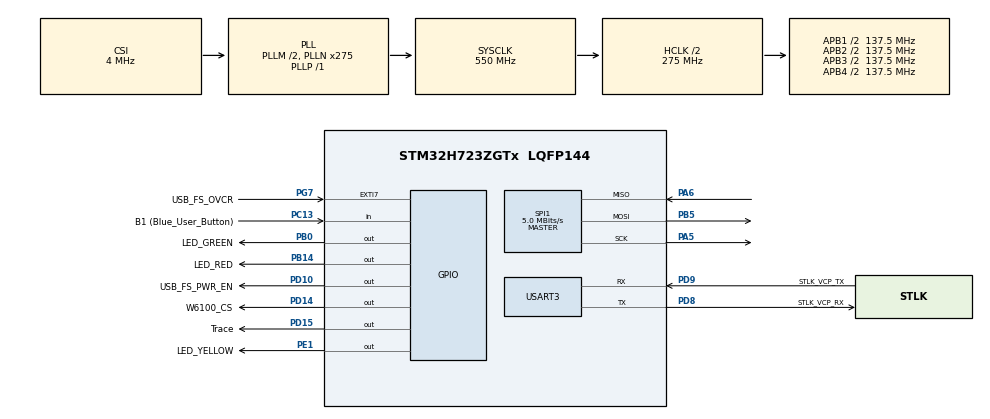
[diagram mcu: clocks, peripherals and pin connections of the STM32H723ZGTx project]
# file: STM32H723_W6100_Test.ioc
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Dma.Request0=SPI1_RX
Dma.Request1=SPI1_TX
Dma.SPI1_RX.0.Direction=DMA_PERIPH_TO_MEMORY
Dma.SPI1_RX.0.EventEnable=DISABLE
Dma.SPI1_RX.0.FIFOMode=DMA_FIFOMODE_DISABLE
Dma.SPI1_RX.0.Instance=DMA1_Stream0
Dma.SPI1_RX.0.MemDataAlignment=DMA_MDATAALIGN_BYTE
Dma.SPI1_RX.0.MemInc=DMA_MINC_ENABLE
Dma.SPI1_RX.0.Mode=DMA_NORMAL
Dma.SPI1_RX.0.PeriphDataAlignment=DMA_PDATAALIGN_BYTE
Dma.SPI1_RX.0.PeriphInc=DMA_PINC_DISABLE
Dma.SPI1_RX.0.Polarity=HAL_DMAMUX_REQ_GEN_RISING
Dma.SPI1_RX.0.Priority=DMA_PRIORITY_LOW
Dma.SPI1_RX.0.RequestNumber=1
Dma.SPI1_RX.0.SignalID=NONE
Dma.SPI1_RX.0.SyncEnable=DISABLE
Dma.SPI1_RX.0.SyncPolarity=HAL_DMAMUX_SYNC_NO_EVENT
Dma.SPI1_RX.0.SyncRequestNumber=1
Dma.SPI1_RX.0.SyncSignalID=NONE
Dma.SPI1_TX.1.Direction=DMA_MEMORY_TO_PERIPH
Dma.SPI1_TX.1.EventEnable=DISABLE
Dma.SPI1_TX.1.FIFOMode=DMA_FIFOMODE_DISABLE
Dma.SPI1_TX.1.Instance=DMA1_Stream1
Dma.SPI1_TX.1.MemDataAlignment=DMA_MDATAALIGN_BYTE
Dma.SPI1_TX.1.MemInc=DMA_MINC_ENABLE
Dma.SPI1_TX.1.Mode=DMA_NORMAL
Dma.SPI1_TX.1.PeriphDataAlignment=DMA_PDATAALIGN_BYTE
Dma.SPI1_TX.1.PeriphInc=DMA_PINC_DISABLE
Dma.SPI1_TX.1.Polarity=HAL_DMAMUX_REQ_GEN_RISING
Dma.SPI1_TX.1.Priority=DMA_PRIORITY_LOW
Dma.SPI1_TX.1.RequestNumber=1
Dma.SPI1_TX.1.SignalID=NONE
Dma.SPI1_TX.1.SyncEnable=DISABLE
Dma.SPI1_TX.1.SyncPolarity=HAL_DMAMUX_SYNC_NO_EVENT
Dma.SPI1_TX.1.SyncRequestNumber=1
Dma.SPI1_TX.1.SyncSignalID=NONE
FREERTOS.Tasks01=defaultTask,24,512,StartDefaultTask,Default,NULL,Dynamic,NULL,NULL
FREERTOS.configCHECK_FOR_STACK_OVERFLOW=1
FREERTOS.configTIMER_TASK_STACK_DEPTH=1024
FREERTOS.configTOTAL_HEAP_SIZE=30720
FREERTOS.configUSE_NEWLIB_REENTRANT=1
Mcu.Family=STM32H7
Mcu.Name=STM32H723ZGTx
Mcu.Package=LQFP144
NVIC.DMA1_Stream0_IRQn=true\:5\:0\:false\:false\:true\:true\:false\:true\:true
NVIC.DMA1_Stream1_IRQn=true\:5\:0\:false\:false\:true\:true\:false\:true\:true
NVIC.PriorityGroup=NVIC_PRIORITYGROUP_4
NVIC.SPI1_IRQn=true\:5\:0\:false\:false\:true\:true\:true\:true\:true
NVIC.TIM6_DAC_IRQn=true\:15\:0\:false\:false\:true\:false\:false\:true\:true
NVIC.TimeBase=TIM6_DAC_IRQn
NVIC.TimeBaseIP=TIM6
NVIC.USART3_IRQn=true\:5\:0\:false\:false\:true\:true\:true\:true\:true
PA1.GPIO_Label=RMII_REF_CLK
PA1.Signal=ETH_REF_CLK
PA10.GPIO_Label=USB_FS_ID
PA10.Signal=USB_OTG_HS_ID
PA13(JTMS/SWDIO).GPIO_Label=SWDIO
PA13(JTMS/SWDIO).Mode=Serial_Wire
PA13(JTMS/SWDIO).Signal=DEBUG_JTMS-SWDIO
PA14(JTCK/SWCLK).GPIO_Label=SWCLK
PA14(JTCK/SWCLK).Mode=Serial_Wire
PA14(JTCK/SWCLK).Signal=DEBUG_JTCK-SWCLK
PA2.GPIO_Label=RMII_MDIO
PA2.Signal=ETH_MDIO
PA5.GPIO_Speed=GPIO_SPEED_FREQ_VERY_HIGH
PA5.Mode=Full_Duplex_Master
PA5.Signal=SPI1_SCK
PA6.GPIO_Speed=GPIO_SPEED_FREQ_VERY_HIGH
PA6.Mode=Full_Duplex_Master
PA6.Signal=SPI1_MISO
PA7.GPIO_Label=RMII_CRS_DV
PA7.Signal=ETH_CRS_DV
PA9.GPIO_Label=USB_FS_VBUS
PA9.Signal=USB_OTG_HS_VBUS
PB0.GPIO_Label=LED_GREEN
PB0.Signal=GPIO_Output
PB13.GPIO_Label=RMII_TXD1
PB13.Signal=ETH_TXD1
PB14.GPIO_Label=LED_RED
PB14.Signal=GPIO_Output
PB5.GPIO_Speed=GPIO_SPEED_FREQ_VERY_HIGH
PB5.Mode=Full_Duplex_Master
PB5.Signal=SPI1_MOSI
PC1.GPIO_Label=RMII_MDC
PC1.Signal=ETH_MDC
PC13.GPIO_Label=B1 (Blue_User_Button)
PC13.Signal=GPIO_Input
PC14-OSC32_IN.Mode=LSE-External-Oscillator
PC14-OSC32_IN.Signal=RCC_OSC32_IN
PC15-OSC32_OUT.Mode=LSE-External-Oscillator
PC15-OSC32_OUT.Signal=RCC_OSC32_OUT
PC4.GPIO_Label=RMII_RXD0
PC4.Signal=ETH_RXD0
PC5.GPIO_Label=RMII_RXD1
PC5.Signal=ETH_RXD1
PD10.GPIO_Label=USB_FS_PWR_EN
PD10.Signal=GPIO_Output
PD14.GPIO_Label=W6100_CS
PD14.GPIO_Speed=GPIO_SPEED_FREQ_VERY_HIGH
PD14.Signal=GPIO_Output
PD15.GPIO_Label=Trace
PD15.GPIO_Speed=GPIO_SPEED_FREQ_VERY_HIGH
PD15.Signal=GPIO_Output
PD8.GPIO_Label=STLK_VCP_RX
PD8.Mode=Asynchronous
PD8.Signal=USART3_TX
PD9.GPIO_Label=STLK_VCP_TX
PD9.Mode=Asynchronous
PD9.Signal=USART3_RX
PE1.GPIO_Label=LED_YELLOW
PE1.Signal=GPIO_Output
PG11.GPIO_Label=RMII_TX_EN
PG11.Signal=ETH_TX_EN
PG13.GPIO_Label=RMII_TXD0
PG13.Signal=ETH_TXD0
PG7.GPIO_Label=USB_FS_OVCR
PG7.Signal=GPXTI7
ProjectManager.HeapSize=0x200
ProjectManager.StackSize=0x400
ProjectManager.TargetToolchain=STM32CubeIDE
RCC.ADCFreq_Value=160000000
RCC.APB1Freq_Value=137500000
RCC.APB2Freq_Value=137500000
RCC.APB3Freq_Value=137500000
RCC.APB4Freq_Value=137500000
RCC.CortexFreq_Value=550000000
RCC.D1PPRE=RCC_APB3_DIV2
RCC.D2PPRE1=RCC_APB1_DIV2
RCC.D2PPRE2=RCC_APB2_DIV2
RCC.D3PPRE=RCC_APB4_DIV2
RCC.DIVM1=2
RCC.DIVM2=2
RCC.DIVN1=275
RCC.DIVN2=160
RCC.DIVP1=1
RCC.DIVQ1=4
RCC.HCLKFreq_Value=275000000
RCC.HPRE=RCC_HCLK_DIV2
RCC.HSE_VALUE=8000000
RCC.PLLFRACN=0
RCC.PLLSourceVirtual=RCC_PLLSOURCE_CSI
RCC.SPI123CLockSelection=RCC_SPI123CLKSOURCE_PLL2
RCC.SYSCLKFreq_VALUE=550000000
RCC.SYSCLKSource=RCC_SYSCLKSOURCE_PLLCLK
RCC.USBCLockSelection=RCC_USBCLKSOURCE_HSI48
RCC.USBFreq_Value=48000000
SPI1.BaudRatePrescaler=SPI_BAUDRATEPRESCALER_32
SPI1.CLKPhase=SPI_PHASE_1EDGE
SPI1.CalculateBaudRate=5.0 MBits/s
SPI1.DataSize=SPI_DATASIZE_8BIT
SPI1.Direction=SPI_DIRECTION_2LINES
SPI1.Mode=SPI_MODE_MASTER
SPI1.VirtualType=VM_MASTER
USART3.VirtualMode-Asynchronous=VM_ASYNC
VP_FREERTOS_VS_CMSIS_V2.Mode=CMSIS_V2
VP_SYS_VS_tim6.Mode=TIM6
board=NUCLEO-H723ZG

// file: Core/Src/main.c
/* USER CODE BEGIN Header */
/**
  ******************************************************************************
  * @file           : main.c
  * @brief          : Main program body
  ******************************************************************************
  * @attention
  *
  * Copyright (c) 2023 STMicroelectronics.
  * All rights reserved.
  *
  * This software is licensed under terms that can be found in the LICENSE file
  * in the root directory of this software component.
  * If no LICENSE file comes with this software, it is provided AS-IS.
  *
  ******************************************************************************
  */
/* USER CODE END Header */
#include "main.h"
#include "cmsis_os.h"

/* USER CODE BEGIN Includes */
#include "wizchip_conf.h"
#include "W6100.h"
#include <stdio.h>
#include <stdlib.h>
#include <string.h>
#include "Application.h"
/* USER CODE END Includes */

/* USER CODE BEGIN PTD */
#define True_STD
#define SPI_DMA
#define Send_data_size 	 16000//7300//16000//10000
/* USER CODE END PTD */

SPI_HandleTypeDef hspi1;
DMA_HandleTypeDef hdma_spi1_rx;
DMA_HandleTypeDef hdma_spi1_tx;

UART_HandleTypeDef huart3;

/* Definitions for defaultTask */
osThreadId_t defaultTaskHandle;
const osThreadAttr_t defaultTask_attributes = {
  .name = "defaultTask",
  .stack_size = 512 * 4,
  .priority = (osPriority_t) osPriorityNormal,
};
/* USER CODE BEGIN PV */
osThreadId_t W6100_TaskHandle;
const osThreadAttr_t Wiz_attributes = {
  .name = "W6100_Task",
  .stack_size = 1024,
  .priority = (osPriority_t) osPriorityBelowNormal,
};
wiz_NetInfo gWIZNETINFO = { .mac = {0x00,0x08,0xdc,0xff,0xff,0xff},
							.ip = {192,168,10,111},
							.sn = {255, 255, 255, 0},
							.gw = {192, 168, 10, 1},
							.dns = {168, 126, 63, 1},
							.lla = {0xfe,0x80, 0x00,0x00,
								 0x00,0x00, 0x00,0x00,
								 0x02,0x08, 0xdc,0xff,
								 0xfe,0xff, 0xff,0xff},
				            .gua={0x20,0x01,0x02,0xb8,
								 0x00,0x10,0x00,0x01,
								 0x02,0x08,0xdc,0xff,
								 0xfe,0xff,0xff,0xff},
				            .sn6={0xff,0xff,0xff,0xff,
								 0xff,0xff,0xff,0xff,
								 0x00,0x00,0x00, 0x00,
								 0x00,0x00,0x00,0x00},
				            .gw6={0xfe, 0x80, 0x00,0x00,
								  0x00,0x00,0x00,0x00,
								  0x02,0x00, 0x87,0xff,
								  0xfe,0x08, 0x4c,0x81}
							};

uint8_t WIZ_Dest_IP[4] = {192, 168, 15, 7};                  //DST_IP Address
uint16_t WIZ_Dest_PORT = 5002;

uint8_t DestIP6_L[16] = {0xfe,0x80, 0x00,0x00,
						  0x00,0x00, 0x00,0x00,
                          0x31,0x71,0x98,0x05,
                          0x70,0x24,0x4b,0xb1
						};

uint8_t DestIP6_G[16] = {0x20,0x01,0x02,0xb8,
                          0x00,0x10,0x00,0x01,
                          0x31,0x71,0x98,0x05,
                          0x70,0x24,0x4b,0xb1
                         };

uint8_t Router_IP[16]= {0xff,0x02,0x00,0x00,
                          0x00,0x00,0x00,0x00,
                          0x00,0x00,0x00,0x00,
                          0x00,0x00,0x00,0x02
                         };
uint8_t data_buf[16384];
uint8_t SPI_DMA_flag = 0;
void W6100Initialze(void);
void print_network_information(void);
/* USER CODE END PV */

void SystemClock_Config(void);
static void MX_GPIO_Init(void);
static void MX_DMA_Init(void);
static void MX_SPI1_Init(void);
static void MX_USART3_UART_Init(void);
void StartDefaultTask(void *argument);

/* USER CODE BEGIN PFP */

uint8_t rxData;
uint8_t rx_buffer[2048]= {0,};
int rx_index = 0;
uint8_t rx_flag =0;
uint16_t loop_mode = 0;
uint16_t temp_delay=0, temp_delay_dumi=0;
#ifdef KEIL
     #ifdef __GNUC__
     //With GCC, small printf (option LD Linker->Libraries->Small printf
     //set to 'Yes') calls __io_putchar()
         #define PUTCHAR_PROTOTYPE int __io_putchar(int ch)
		#else
				 #define PUTCHAR_PROTOTYPE int fputc(int ch, FILE *f)
		#endif /* __GNUC__*/
#endif

#ifdef True_STD
	int _write(int fd, char *str, int len)
	{
		for(int i=0; i<len; i++)
		{
			HAL_UART_Transmit(&huart3, (uint8_t *)&str[i], 1, 0xFFFF);
		}
		return len;
	}
#endif

void HAL_UART_RxCpltCallback(UART_HandleTypeDef *huart) {

    /*
        This will be called once data is received successfully,
        via interrupts.
    */

     /*
       loop back received data
     */
     HAL_UART_Receive_IT(&huart3, &rxData, 1);
     if (rxData == '\n')
	 {
	   if (rx_buffer[rx_index - 1] == '\r')
	   {
		 rx_index--;
		 rx_flag = 1;
		 rx_buffer[rx_index] = 0;
	   }
	   else
	   {
		 rx_index = 0;
		 HAL_UART_Transmit(&huart3, "not support format\r\n", 20, 1000);
	   }
	 }
	 else if (rxData == 0x08) // back space
	 {
	   rx_index--;
	 }
	 else
	 {
	   rx_buffer[rx_index++] = rxData;
	 }
     HAL_UART_Transmit(&huart3, &rxData, 1, 1000);
}

void W6100CsEnable(void);
void W6100CsDisable(void);
#define W6100_CS_GPIO  1
#if 1
void HAL_SPI_TxRxCpltCallback(SPI_HandleTypeDef *hspi)
{
	//printf("SPI DMA Complete\r\n");
	SPI_DMA_flag = 1;
}
void HAL_SPI_TxCpltCallback(SPI_HandleTypeDef *hspi)
{
	SPI_DMA_flag = 1;
}
#endif
#if 0
uint8_t dma_write_data(uint32_t address, uint8_t *buff, uint16_t len)
{

	uint8_t *temp_pbuf = NULL;
	uint8_t *pbuf = (uint8_t*)calloc(len + 4, sizeof(uint8_t));
	temp_pbuf = pbuf;
	*temp_pbuf++ = (uint8_t)((address & 0x00FF0000) >> 16);
	*temp_pbuf++ = (uint8_t)((address & 0x0000FF00) >> 8);
	*temp_pbuf++ = (uint8_t)((address & 0x000000ff)|(_W6100_SPI_WRITE_ ));
	memcpy(temp_pbuf, buff, len);

	SPI_DMA_flag = 0;
	HAL_SPI_Transmit_DMA(&hspi1, pbuf, len+3);
	while(SPI_DMA_flag == 0);
	//while (HAL_DMA_GetState(hspi1.hdmatx) == HAL_DMA_STATE_BUSY|| HAL_DMA_GetState(hspi1.hdmatx) == HAL_DMA_STATE_RESET);
	free(pbuf);

	return 0;
}
uint8_t dma_read_data(uint32_t address, uint8_t *buff, uint16_t len)
{
	//uint8_t temp_pbuf[3] = {0,};
	//uint8_t *pbuf = (uint8_t*)calloc(len + 4, sizeof(uint8_t));
	uint8_t *temp_pbuf = (uint8_t*)calloc(len + 4, sizeof(uint8_t));
	uint8_t *temp_pbuf1 = (uint8_t*)calloc(len + 4, sizeof(uint8_t));
	*temp_pbuf = (uint8_t)((address & 0x00FF0000) >> 16);
	*(temp_pbuf + 1) = (uint8_t)((address & 0x0000FF00) >> 8);
	*(temp_pbuf + 2) = (uint8_t)((address & 0x000000ff)|(_W6100_SPI_READ_ ));
	//memcpy(temp_pbuf, buff, len);
	//HAL_SPI_TransmitReceive_DMA_1(&hspi1,temp_pbuf, buff, 3, len);
	SPI_DMA_flag = 0;
	while (HAL_SPI_TransmitReceive_DMA(&hspi1,temp_pbuf, temp_pbuf1, len + 3) != HAL_OK);
	while(SPI_DMA_flag == 0);
	//while (HAL_DMA_GetState(hspi1.hdmarx) == HAL_DMA_STATE_BUSY|| HAL_DMA_GetState(hspi1.hdmarx) == HAL_DMA_STATE_RESET);
	memcpy(buff,temp_pbuf1 + 3, len);
	free(temp_pbuf);
	free(temp_pbuf1);
	//free(pbuf);
	return len;
}
#else
#define spi_delay_en 0
uint8_t temp_pbuf[16387]={0,}; //16384+3
uint8_t temp_pbuf1[16387]={0,};
uint8_t dma_write_data(uint32_t address, uint8_t *buff, uint16_t len)
{
	temp_pbuf[0] = (uint8_t)((address & 0x00FF0000) >> 16);
	temp_pbuf[1] = (uint8_t)((address & 0x0000FF00) >> 8);
	temp_pbuf[2] = (uint8_t)((address & 0x000000ff)|(_W6100_SPI_WRITE_ ));
	memcpy(temp_pbuf+3, buff, len);
#if spi_delay_en
  for(temp_delay=0;temp_delay<10; temp_delay++)
  {
    temp_delay_dumi++;
  }
#endif
#if 0
	SPI_DMA_flag = 0;
	HAL_SPI_Transmit_DMA(&hspi1, temp_pbuf, len+3);
	while(SPI_DMA_flag == 0);
#else
  #if W6100_CS_GPIO
  W6100CsEnable();
  #endif
#if 0
	HAL_SPI_Transmit(&hspi1, temp_pbuf, len+3, 0xFFFF);
#else
	SPI_DMA_flag = 0;
	HAL_SPI_Transmit_DMA(&hspi1, temp_pbuf, len+3);
	while(SPI_DMA_flag == 0);
#endif
  #if W6100_CS_GPIO
  W6100CsDisable();
  #endif
#endif
#if spi_delay_en
  for(temp_delay=0;temp_delay<10; temp_delay++)
  {
    temp_delay_dumi++;
  }
#endif
	//while (HAL_DMA_GetState(hspi1.hdmatx) == HAL_DMA_STATE_BUSY|| HAL_DMA_GetState(hspi1.hdmatx) == HAL_DMA_STATE_RESET);
	return 0;
}
uint8_t dma_read_data(uint32_t address, uint8_t *buff, uint16_t len)
{
  temp_pbuf[0] = (uint8_t)((address & 0x00FF0000) >> 16);
	temp_pbuf[1] = (uint8_t)((address & 0x0000FF00) >> 8);
	temp_pbuf[2] = (uint8_t)((address & 0x000000ff)|(_W6100_SPI_READ_ ));
#if spi_delay_en
  for(temp_delay=0;temp_delay<10; temp_delay++)
  {
    temp_delay_dumi++;
  }
#endif
	SPI_DMA_flag = 0;
  #if 0
	HAL_SPI_TransmitReceive_DMA(&hspi1,temp_pbuf, temp_pbuf1, len + 3);
	while(SPI_DMA_flag == 0);
  #else
  #if W6100_CS_GPIO
  W6100CsEnable();
  #endif
#if 0
  HAL_SPI_TransmitReceive(&hspi1,temp_pbuf, temp_pbuf1, len + 3, 0xffff);
#else
  SPI_DMA_flag = 0;
  HAL_SPI_TransmitReceive_DMA(&hspi1,temp_pbuf, temp_pbuf1, len + 3);
  	while(SPI_DMA_flag == 0);
#endif
  #if W6100_CS_GPIO
  W6100CsDisable();
  #endif
  #endif
	//while (HAL_DMA_GetState(hspi1.hdmarx) == HAL_DMA_STATE_BUSY|| HAL_DMA_GetState(hspi1.hdmarx) == HAL_DMA_STATE_RESET);
	memcpy(buff,temp_pbuf1 + 3, len);
#if spi_delay_en
  for(temp_delay=0;temp_delay<10; temp_delay++)
  {
    temp_delay_dumi++;
  }
#endif
	return len;
}
#endif
void print_help_menu(void);
uint16_t CLI_Process(void);
uint8_t check_break(void)
{
  uint16_t cmd_mode;
  if (rx_flag == 1)
  {
    rx_flag = 0;
    cmd_mode=CLI_Process();
    if(cmd_mode ==4)
      return 1;
  }
  return 0;
}
void end_sig(void)
{
  HAL_UART_Transmit(&huart3, (uint8_t *)"1\r\n", 3, 0xFFFF);
}
#if 1
void TRACE_ON(void)
{
	HAL_GPIO_WritePin(Trace_GPIO_Port, Trace_Pin, GPIO_PIN_RESET);
}
void TRACE_OFF(void)
{
	HAL_GPIO_WritePin(Trace_GPIO_Port, Trace_Pin, GPIO_PIN_SET);
}
#endif
void Start_W6100_Task(void *argument);
/* USER CODE END PFP */

int main(void)
{
  /* USER CODE BEGIN 1 */

	uint8_t temp_ver[2]={0,};
	PLL2_ClocksTypeDef PLL2_Clk_data;
	uint16_t temp_presc = 1, temp_presc_set, temp_presc_cnt = 0;
	int i = 0;
#if 0
	uint8_t syslock = SYS_NET_LOCK;
	uint16_t cmd_mode=0;
	int8_t *data= NULL;
	int32_t ret;
#endif
  /* USER CODE END 1 */

  /* MCU Configuration--------------------------------------------------------*/

  /* Reset of all peripherals, Initializes the Flash interface and the Systick. */
  HAL_Init();

  /* Configure the system clock */
  SystemClock_Config();

  /* Initialize all configured peripherals */
  MX_GPIO_Init();
  MX_DMA_Init();
  MX_SPI1_Init();
  MX_USART3_UART_Init();
  /* USER CODE BEGIN 2 */
  HAL_UART_Receive_IT(&huart3, &rxData, 1);
  printf("< W6100 clock TEST!! >\r\n");
  W6100CsDisable();
  HAL_RCCEx_GetPLL2ClockFreq(&PLL2_Clk_data);
    printf("SET PLL2 P:%ld, Q:%ld, R:%ld \r\n", PLL2_Clk_data.PLL2_P_Frequency, PLL2_Clk_data.PLL2_Q_Frequency, PLL2_Clk_data.PLL2_R_Frequency);
    temp_presc_set = (hspi1.Init.BaudRatePrescaler>>(4*7));
    printf("pre = %d\r\n", temp_presc_set);
    for(temp_presc_cnt = 0; temp_presc_cnt < temp_presc_set; temp_presc_cnt++)
    {
    	temp_presc = temp_presc*2;
    }
    printf("SPI CLK %d Mhz \r\n", (int)(PLL2_Clk_data.PLL2_P_Frequency / (2*temp_presc) / 1000000));
  W6100CsEnable();
	dma_read_data(0x000200, temp_ver, 2);
  W6100CsDisable();
	printf("VER 0x%02X %02X\r\n", temp_ver[0], temp_ver[1]);
#if 0
	W6100Initialze();
	ctlwizchip(CW_SYS_UNLOCK,& syslock);
	ctlnetwork(CN_SET_NETINFO,&gWIZNETINFO);
	for (i = 0; i < 8; i++)
	  {
		printf("%d : max size = %d k \r\n", i, getSn_TxMAX(i));
	  }
	printf("VERSION(%x) = %.2x \r\n", _VER_,getVER());
	print_network_information();
	printf("\r\n>");
	data = (uint8_t *)calloc(Send_data_size + 1, sizeof(uint8_t));
	  for(i=0; i<Send_data_size; i++)
	  {
		  data[i] = (i%10) + '0';
	  }
	  printf("1: loopback \r\n2: iperf client\r\n3:iperf server\r\nstop : stop process\r\n");
#endif
    //TRACE_OFF();
  /* USER CODE END 2 */

  /* Init scheduler */
  osKernelInitialize();

  /* Create the thread(s) */
  /* creation of defaultTask */
  defaultTaskHandle = osThreadNew(StartDefaultTask, NULL, &defaultTask_attributes);

  /* USER CODE BEGIN RTOS_THREADS */
  /* add threads, ... */
  W6100_TaskHandle = osThreadNew(Start_W6100_Task, NULL, &Wiz_attributes);
  /* USER CODE END RTOS_THREADS */

  /* Start scheduler */
  osKernelStart();

  /* We should never get here as control is now taken by the scheduler */
  /* Infinite loop */
  /* USER CODE BEGIN WHILE */
  while (1)
  {
#if 0
	  if (rx_flag == 1)
	  {
		  rx_flag = 0;
		  cmd_mode=CLI_Process();
		  switch(cmd_mode)
		  {
		  case 3:
			  break;
		  default :
			  break;
		  }
	  }

	  switch(loop_mode)
	  {
	  case 1:	//loopback
		  loopback_tcps(0,data_buf,5000, AS_IPV4);
		  break;
	  case 2:
		  ret = iperf_tcpc(0, data, WIZ_Dest_IP, WIZ_Dest_PORT, Send_data_size, 100, AS_IPV4);
		  if(ret > 1)
		  {
			  loop_mode = 0;
			  printf("finish iperf send data[%ld] \r\n", ret);
		  }
		  break;
	  case 3:
		  tcps_status(0, 5000, AS_IPV4);
		  break;
	  default :
		  break;
	  }
#endif

    /* USER CODE END WHILE */

  }
}

void SystemClock_Config(void)
{
  RCC_OscInitTypeDef RCC_OscInitStruct = {0};
  RCC_ClkInitTypeDef RCC_ClkInitStruct = {0};

  /** Supply configuration update enable
  */
  HAL_PWREx_ConfigSupply(PWR_LDO_SUPPLY);

  /** Configure the main internal regulator output voltage
  */
  __HAL_PWR_VOLTAGESCALING_CONFIG(PWR_REGULATOR_VOLTAGE_SCALE0);

  while(!__HAL_PWR_GET_FLAG(PWR_FLAG_VOSRDY)) {}

  /** Initializes the RCC Oscillators according to the specified parameters
  * in the RCC_OscInitTypeDef structure.
  */
  RCC_OscInitStruct.OscillatorType = RCC_OSCILLATORTYPE_CSI;
  RCC_OscInitStruct.CSIState = RCC_CSI_ON;
  RCC_OscInitStruct.CSICalibrationValue = 16;
  RCC_OscInitStruct.PLL.PLLState = RCC_PLL_ON;
  RCC_OscInitStruct.PLL.PLLSource = RCC_PLLSOURCE_CSI;
  RCC_OscInitStruct.PLL.PLLM = 2;
  RCC_OscInitStruct.PLL.PLLN = 275;
  RCC_OscInitStruct.PLL.PLLP = 1;
  RCC_OscInitStruct.PLL.PLLQ = 4;
  RCC_OscInitStruct.PLL.PLLR = 2;
  RCC_OscInitStruct.PLL.PLLRGE = RCC_PLL1VCIRANGE_1;
  RCC_OscInitStruct.PLL.PLLVCOSEL = RCC_PLL1VCOWIDE;
  RCC_OscInitStruct.PLL.PLLFRACN = 0;
  if (HAL_RCC_OscConfig(&RCC_OscInitStruct) != HAL_OK)
  {
    Error_Handler();
  }

  /** Initializes the CPU, AHB and APB buses clocks
  */
  RCC_ClkInitStruct.ClockType = RCC_CLOCKTYPE_HCLK|RCC_CLOCKTYPE_SYSCLK
                              |RCC_CLOCKTYPE_PCLK1|RCC_CLOCKTYPE_PCLK2
                              |RCC_CLOCKTYPE_D3PCLK1|RCC_CLOCKTYPE_D1PCLK1;
  RCC_ClkInitStruct.SYSCLKSource = RCC_SYSCLKSOURCE_PLLCLK;
  RCC_ClkInitStruct.SYSCLKDivider = RCC_SYSCLK_DIV1;
  RCC_ClkInitStruct.AHBCLKDivider = RCC_HCLK_DIV2;
  RCC_ClkInitStruct.APB3CLKDivider = RCC_APB3_DIV2;
  RCC_ClkInitStruct.APB1CLKDivider = RCC_APB1_DIV2;
  RCC_ClkInitStruct.APB2CLKDivider = RCC_APB2_DIV2;
  RCC_ClkInitStruct.APB4CLKDivider = RCC_APB4_DIV2;

  if (HAL_RCC_ClockConfig(&RCC_ClkInitStruct, FLASH_LATENCY_3) != HAL_OK)
  {
    Error_Handler();
  }
}

static void MX_SPI1_Init(void)
{

  /* SPI1 parameter configuration*/
  hspi1.Instance = SPI1;
  hspi1.Init.Mode = SPI_MODE_MASTER;
  hspi1.Init.Direction = SPI_DIRECTION_2LINES;
  hspi1.Init.DataSize = SPI_DATASIZE_8BIT;
  hspi1.Init.CLKPolarity = SPI_POLARITY_LOW;
  hspi1.Init.CLKPhase = SPI_PHASE_1EDGE;
  hspi1.Init.NSS = SPI_NSS_SOFT;
  hspi1.Init.BaudRatePrescaler = SPI_BAUDRATEPRESCALER_32;
  hspi1.Init.FirstBit = SPI_FIRSTBIT_MSB;
  hspi1.Init.TIMode = SPI_TIMODE_DISABLE;
  hspi1.Init.CRCCalculation = SPI_CRCCALCULATION_DISABLE;
  hspi1.Init.CRCPolynomial = 0x0;
  hspi1.Init.NSSPMode = SPI_NSS_PULSE_ENABLE;
  hspi1.Init.NSSPolarity = SPI_NSS_POLARITY_LOW;
  hspi1.Init.FifoThreshold = SPI_FIFO_THRESHOLD_01DATA;
  hspi1.Init.TxCRCInitializationPattern = SPI_CRC_INITIALIZATION_ALL_ZERO_PATTERN;
  hspi1.Init.RxCRCInitializationPattern = SPI_CRC_INITIALIZATION_ALL_ZERO_PATTERN;
  hspi1.Init.MasterSSIdleness = SPI_MASTER_SS_IDLENESS_00CYCLE;
  hspi1.Init.MasterInterDataIdleness = SPI_MASTER_INTERDATA_IDLENESS_00CYCLE;
  hspi1.Init.MasterReceiverAutoSusp = SPI_MASTER_RX_AUTOSUSP_DISABLE;
  hspi1.Init.MasterKeepIOState = SPI_MASTER_KEEP_IO_STATE_DISABLE;
  hspi1.Init.IOSwap = SPI_IO_SWAP_DISABLE;
  if (HAL_SPI_Init(&hspi1) != HAL_OK)
  {
    Error_Handler();
  }

}

static void MX_USART3_UART_Init(void)
{

  huart3.Instance = USART3;
  huart3.Init.BaudRate = 115200;
  huart3.Init.WordLength = UART_WORDLENGTH_8B;
  huart3.Init.StopBits = UART_STOPBITS_1;
  huart3.Init.Parity = UART_PARITY_NONE;
  huart3.Init.Mode = UART_MODE_TX_RX;
  huart3.Init.HwFlowCtl = UART_HWCONTROL_NONE;
  huart3.Init.OverSampling = UART_OVERSAMPLING_16;
  huart3.Init.OneBitSampling = UART_ONE_BIT_SAMPLE_DISABLE;
  huart3.Init.ClockPrescaler = UART_PRESCALER_DIV1;
  huart3.AdvancedInit.AdvFeatureInit = UART_ADVFEATURE_NO_INIT;
  if (HAL_UART_Init(&huart3) != HAL_OK)
  {
    Error_Handler();
  }
  if (HAL_UARTEx_SetTxFifoThreshold(&huart3, UART_TXFIFO_THRESHOLD_1_8) != HAL_OK)
  {
    Error_Handler();
  }
  if (HAL_UARTEx_SetRxFifoThreshold(&huart3, UART_RXFIFO_THRESHOLD_1_8) != HAL_OK)
  {
    Error_Handler();
  }
  if (HAL_UARTEx_DisableFifoMode(&huart3) != HAL_OK)
  {
    Error_Handler();
  }

}

static void MX_DMA_Init(void)
{

  /* DMA controller clock enable */
  __HAL_RCC_DMA1_CLK_ENABLE();

  /* DMA interrupt init */
  /* DMA1_Stream0_IRQn interrupt configuration */
  HAL_NVIC_SetPriority(DMA1_Stream0_IRQn, 5, 0);
  HAL_NVIC_EnableIRQ(DMA1_Stream0_IRQn);
  /* DMA1_Stream1_IRQn interrupt configuration */
  HAL_NVIC_SetPriority(DMA1_Stream1_IRQn, 5, 0);
  HAL_NVIC_EnableIRQ(DMA1_Stream1_IRQn);

}

static void MX_GPIO_Init(void)
{
  GPIO_InitTypeDef GPIO_InitStruct = {0};

  /* GPIO Ports Clock Enable */
  __HAL_RCC_GPIOC_CLK_ENABLE();
  __HAL_RCC_GPIOA_CLK_ENABLE();
  __HAL_RCC_GPIOB_CLK_ENABLE();
  __HAL_RCC_GPIOD_CLK_ENABLE();
  __HAL_RCC_GPIOG_CLK_ENABLE();
  __HAL_RCC_GPIOE_CLK_ENABLE();

  /*Configure GPIO pin Output Level */
  HAL_GPIO_WritePin(GPIOB, LED_GREEN_Pin|LED_RED_Pin, GPIO_PIN_RESET);

  /*Configure GPIO pin Output Level */
  HAL_GPIO_WritePin(GPIOD, USB_FS_PWR_EN_Pin|W6100_CS_Pin|Trace_Pin, GPIO_PIN_RESET);

  /*Configure GPIO pin Output Level */
  HAL_GPIO_WritePin(LED_YELLOW_GPIO_Port, LED_YELLOW_Pin, GPIO_PIN_RESET);

  /*Configure GPIO pin : B1_Pin */
  GPIO_InitStruct.Pin = B1_Pin;
  GPIO_InitStruct.Mode = GPIO_MODE_INPUT;
  GPIO_InitStruct.Pull = GPIO_NOPULL;
  HAL_GPIO_Init(B1_GPIO_Port, &GPIO_InitStruct);

  /*Configure GPIO pins : RMII_MDC_Pin RMII_RXD0_Pin RMII_RXD1_Pin */
  GPIO_InitStruct.Pin = RMII_MDC_Pin|RMII_RXD0_Pin|RMII_RXD1_Pin;
  GPIO_InitStruct.Mode = GPIO_MODE_AF_PP;
  GPIO_InitStruct.Pull = GPIO_NOPULL;
  GPIO_InitStruct.Speed = GPIO_SPEED_FREQ_LOW;
  GPIO_InitStruct.Alternate = GPIO_AF11_ETH;
  HAL_GPIO_Init(GPIOC, &GPIO_InitStruct);

  /*Configure GPIO pins : RMII_REF_CLK_Pin RMII_MDIO_Pin RMII_CRS_DV_Pin */
  GPIO_InitStruct.Pin = RMII_REF_CLK_Pin|RMII_MDIO_Pin|RMII_CRS_DV_Pin;
  GPIO_InitStruct.Mode = GPIO_MODE_AF_PP;
  GPIO_InitStruct.Pull = GPIO_NOPULL;
  GPIO_InitStruct.Speed = GPIO_SPEED_FREQ_LOW;
  GPIO_InitStruct.Alternate = GPIO_AF11_ETH;
  HAL_GPIO_Init(GPIOA, &GPIO_InitStruct);

  /*Configure GPIO pins : LED_GREEN_Pin LED_RED_Pin */
  GPIO_InitStruct.Pin = LED_GREEN_Pin|LED_RED_Pin;
  GPIO_InitStruct.Mode = GPIO_MODE_OUTPUT_PP;
  GPIO_InitStruct.Pull = GPIO_NOPULL;
  GPIO_InitStruct.Speed = GPIO_SPEED_FREQ_LOW;
  HAL_GPIO_Init(GPIOB, &GPIO_InitStruct);

  /*Configure GPIO pin : RMII_TXD1_Pin */
  GPIO_InitStruct.Pin = RMII_TXD1_Pin;
  GPIO_InitStruct.Mode = GPIO_MODE_AF_PP;
  GPIO_InitStruct.Pull = GPIO_NOPULL;
  GPIO_InitStruct.Speed = GPIO_SPEED_FREQ_LOW;
  GPIO_InitStruct.Alternate = GPIO_AF11_ETH;
  HAL_GPIO_Init(RMII_TXD1_GPIO_Port, &GPIO_InitStruct);

  /*Configure GPIO pin : USB_FS_PWR_EN_Pin */
  GPIO_InitStruct.Pin = USB_FS_PWR_EN_Pin;
  GPIO_InitStruct.Mode = GPIO_MODE_OUTPUT_PP;
  GPIO_InitStruct.Pull = GPIO_NOPULL;
  GPIO_InitStruct.Speed = GPIO_SPEED_FREQ_LOW;
  HAL_GPIO_Init(USB_FS_PWR_EN_GPIO_Port, &GPIO_InitStruct);

  /*Configure GPIO pins : W6100_CS_Pin Trace_Pin */
  GPIO_InitStruct.Pin = W6100_CS_Pin|Trace_Pin;
  GPIO_InitStruct.Mode = GPIO_MODE_OUTPUT_PP;
  GPIO_InitStruct.Pull = GPIO_NOPULL;
  GPIO_InitStruct.Speed = GPIO_SPEED_FREQ_VERY_HIGH;
  HAL_GPIO_Init(GPIOD, &GPIO_InitStruct);

  /*Configure GPIO pin : USB_FS_OVCR_Pin */
  GPIO_InitStruct.Pin = USB_FS_OVCR_Pin;
  GPIO_InitStruct.Mode = GPIO_MODE_IT_RISING;
  GPIO_InitStruct.Pull = GPIO_NOPULL;
  HAL_GPIO_Init(USB_FS_OVCR_GPIO_Port, &GPIO_InitStruct);

  /*Configure GPIO pin : USB_FS_ID_Pin */
  GPIO_InitStruct.Pin = USB_FS_ID_Pin;
  GPIO_InitStruct.Mode = GPIO_MODE_AF_PP;
  GPIO_InitStruct.Pull = GPIO_NOPULL;
  GPIO_InitStruct.Speed = GPIO_SPEED_FREQ_LOW;
  GPIO_InitStruct.Alternate = GPIO_AF10_OTG1_HS;
  HAL_GPIO_Init(USB_FS_ID_GPIO_Port, &GPIO_InitStruct);

  /*Configure GPIO pins : RMII_TX_EN_Pin RMII_TXD0_Pin */
  GPIO_InitStruct.Pin = RMII_TX_EN_Pin|RMII_TXD0_Pin;
  GPIO_InitStruct.Mode = GPIO_MODE_AF_PP;
  GPIO_InitStruct.Pull = GPIO_NOPULL;
  GPIO_InitStruct.Speed = GPIO_SPEED_FREQ_LOW;
  GPIO_InitStruct.Alternate = GPIO_AF11_ETH;
  HAL_GPIO_Init(GPIOG, &GPIO_InitStruct);

  /*Configure GPIO pin : LED_YELLOW_Pin */
  GPIO_InitStruct.Pin = LED_YELLOW_Pin;
  GPIO_InitStruct.Mode = GPIO_MODE_OUTPUT_PP;
  GPIO_InitStruct.Pull = GPIO_NOPULL;
  GPIO_InitStruct.Speed = GPIO_SPEED_FREQ_LOW;
  HAL_GPIO_Init(LED_YELLOW_GPIO_Port, &GPIO_InitStruct);

}

/* USER CODE BEGIN 4 */

uint8_t W6100SpiReadByte(void)
{

	uint8_t rx = 0, tx = 0xFF;
	HAL_SPI_TransmitReceive(&hspi1, &tx, &rx, 1, 10);
	//HAL_SPI_Receive(&hspi1, &rx, 1, 10);
	return rx;

}

void W6100SpiWriteByte(uint8_t byte)
{
#ifdef USE_STDPERIPH_DRIVER

	while (SPI_I2S_GetFlagStatus(W6100_SPI, SPI_I2S_FLAG_TXE) == RESET);
	SPI_I2S_SendData(W6100_SPI, byte);
	while (SPI_I2S_GetFlagStatus(W6100_SPI, SPI_I2S_FLAG_RXNE) == RESET);
	SPI_I2S_ReceiveData(W6100_SPI);

#elif defined USE_HAL_DRIVER

	uint8_t rx;
	HAL_SPI_TransmitReceive(&hspi1, &byte, &rx, 1, 10);
#endif
    return 0;
}
void W6100SpiReadBurst(uint8_t* buf, datasize_t len)
{
	uint8_t tx[Send_data_size];
	HAL_SPI_TransmitReceive(&hspi1, tx, buf, len, 10);
	//HAL_SPI_Receive(&hspi1, buf, len, 10);
}
void W6100SpiWriteBurst(uint8_t* buf, datasize_t len)
{
	uint8_t rx[Send_data_size];
	HAL_SPI_TransmitReceive(&hspi1, buf, rx, len, 10);
}
void W6100CsEnable(void)
{
	HAL_GPIO_WritePin(W6100_CS_GPIO_Port, W6100_CS_Pin, GPIO_PIN_RESET);
}

void W6100CsDisable(void)
{
	HAL_GPIO_WritePin(W6100_CS_GPIO_Port, W6100_CS_Pin, GPIO_PIN_SET);
}

void W6100Initialze(void)
{
	//W6100Reset();

#if _WIZCHIP_IO_MODE_ & _WIZCHIP_IO_MODE_SPI_
/* SPI method callback registration */
	#if defined SPI_DMA
	reg_wizchip_spi_cbfunc(W6100SpiReadByte, W6100SpiWriteByte, W6100SpiReadBurst, W6100SpiWriteBurst);
	#else
	reg_wizchip_spi_cbfunc(W6100SpiReadByte, W6100SpiWriteByte, 0, 0);
	#endif
	/* CS function register */
	reg_wizchip_cs_cbfunc(W6100CsEnable, W6100CsDisable);
#else
/* Indirect bus method callback registration */
	#if defined BUS_DMA
	reg_wizchip_bus_cbfunc(W6100BusReadByte, W6100BusWriteByte, W6100BusReadBurst, W6100BusWriteBurst);
	#else
	reg_wizchip_bus_cbfunc(W6100BusReadByte, W6100BusWriteByte, 0, 0);
	#endif
#endif
	uint8_t temp;
	//unsigned char W6100_AdrSet[2][8] = {{2, 2, 2, 2, 2, 2, 2, 2}, {2, 2, 2, 2, 2, 2, 2, 2}};
	unsigned char W6100_AdrSet[2][8] = {{16, 0, 0, 0, 0, 0, 0, 0}, {16, 0, 0, 0, 0, 0, 0, 0}};
	do
	{
		if (ctlwizchip(CW_GET_PHYLINK, (void *)&temp) == -1)
		{
			printf("Unknown PHY link status.\r\n");
		}
	} while (temp == PHY_LINK_OFF);
	printf("PHY OK.\r\n");

	temp = IK_DEST_UNREACH;

	if (ctlwizchip(CW_INIT_WIZCHIP, (void *)W6100_AdrSet) == -1)
	{
		printf("W6100 initialized fail.\r\n");
	}

	if (ctlwizchip(CW_SET_INTRMASK, &temp) == -1)
	{
		printf("W6100 interrupt\r\n");
	}
	//printf("interrupt mask: %02x\r\n",getIMR());
}
void print_network_information(void)
{
	wizchip_getnetinfo(&gWIZNETINFO);
	printf("Mac address: %02x:%02x:%02x:%02x:%02x:%02x\n\r",gWIZNETINFO.mac[0],gWIZNETINFO.mac[1],gWIZNETINFO.mac[2],gWIZNETINFO.mac[3],gWIZNETINFO.mac[4],gWIZNETINFO.mac[5]);
	printf("IP address : %d.%d.%d.%d\n\r",gWIZNETINFO.ip[0],gWIZNETINFO.ip[1],gWIZNETINFO.ip[2],gWIZNETINFO.ip[3]);
	printf("SN Mask	   : %d.%d.%d.%d\n\r",gWIZNETINFO.sn[0],gWIZNETINFO.sn[1],gWIZNETINFO.sn[2],gWIZNETINFO.sn[3]);
	printf("Gate way   : %d.%d.%d.%d\n\r",gWIZNETINFO.gw[0],gWIZNETINFO.gw[1],gWIZNETINFO.gw[2],gWIZNETINFO.gw[3]);
	printf("DNS Server : %d.%d.%d.%d\n\r",gWIZNETINFO.dns[0],gWIZNETINFO.dns[1],gWIZNETINFO.dns[2],gWIZNETINFO.dns[3]);
	printf("LLA  : %.2X%.2X:%.2X%.2X:%.2X%.2X:%.2X%.2X:%.2X%.2X:%.2X%.2X:%.2X%.2X:%.2X%.2X\r\n",gWIZNETINFO.lla[0],gWIZNETINFO.lla[1],gWIZNETINFO.lla[2],gWIZNETINFO.lla[3],\
									gWIZNETINFO.lla[4],gWIZNETINFO.lla[5],gWIZNETINFO.lla[6],gWIZNETINFO.lla[7],\
									gWIZNETINFO.lla[8],gWIZNETINFO.lla[9],gWIZNETINFO.lla[10],gWIZNETINFO.lla[11],\
									gWIZNETINFO.lla[12],gWIZNETINFO.lla[13],gWIZNETINFO.lla[14],gWIZNETINFO.lla[15]);
	printf("GUA  : %.2X%.2X:%.2X%.2X:%.2X%.2X:%.2X%.2X:%.2X%.2X:%.2X%.2X:%.2X%.2X:%.2X%.2X\n\r",gWIZNETINFO.gua[0],gWIZNETINFO.gua[1],gWIZNETINFO.gua[2],gWIZNETINFO.gua[3],\
									gWIZNETINFO.gua[4],gWIZNETINFO.gua[5],gWIZNETINFO.gua[6],gWIZNETINFO.gua[7],\
									gWIZNETINFO.gua[8],gWIZNETINFO.gua[9],gWIZNETINFO.gua[10],gWIZNETINFO.gua[11],\
									gWIZNETINFO.gua[12],gWIZNETINFO.gua[13],gWIZNETINFO.gua[14],gWIZNETINFO.gua[15]);
	printf("SN6  : %.2X%.2X:%.2X%.2X:%.2X%.2X:%.2X%.2X:%.2X%.2X:%.2X%.2X:%.2X%.2X:%.2X%.2X\n\r",gWIZNETINFO.sn6[0],gWIZNETINFO.sn6[1],gWIZNETINFO.sn6[2],gWIZNETINFO.sn6[3],\
									gWIZNETINFO.sn6[4],gWIZNETINFO.sn6[5],gWIZNETINFO.sn6[6],gWIZNETINFO.sn6[7],\
									gWIZNETINFO.sn6[8],gWIZNETINFO.sn6[9],gWIZNETINFO.sn6[10],gWIZNETINFO.sn6[11],\
									gWIZNETINFO.sn6[12],gWIZNETINFO.sn6[13],gWIZNETINFO.sn6[14],gWIZNETINFO.sn6[15]);
	printf("GW6  : %.2X%.2X:%.2X%.2X:%.2X%.2X:%.2X%.2X:%.2X%.2X:%.2X%.2X:%.2X%.2X:%.2X%.2X\r\n",gWIZNETINFO.gw6[0],gWIZNETINFO.gw6[1],gWIZNETINFO.gw6[2],gWIZNETINFO.gw6[3],\
									gWIZNETINFO.gw6[4],gWIZNETINFO.gw6[5],gWIZNETINFO.gw6[6],gWIZNETINFO.gw6[7],\
									gWIZNETINFO.gw6[8],gWIZNETINFO.gw6[9],gWIZNETINFO.gw6[10],gWIZNETINFO.gw6[11],\
									gWIZNETINFO.gw6[12],gWIZNETINFO.gw6[13],gWIZNETINFO.gw6[14],gWIZNETINFO.gw6[15]);
}

void print_help_menu(void)
{
  printf("CMD List\r\n");
}
uint16_t CLI_Process(void)
{
  uint16_t mode = 0;
  printf("serial recv : [%d] %s\r\n", rx_index, rx_buffer);
  if (strncmp((const char *)rx_buffer, (const char *)"help", 4) == 0) // spi setting
  {
	  printf("help\r\n");
  }
  else if (strncmp((const char *)rx_buffer, (const char *)"stop", 4) == 0) // spi setting
  {
	  printf("stop\r\n");
	  close(0);
	  loop_mode = 0;
    mode = 4;
  }
  else if (strncmp((const char *)rx_buffer, (const char *)"1", 1) == 0) // spi setting
  {
	  printf("echo\r\n");
	  loop_mode = 1;
  }
  else if (strncmp((const char *)rx_buffer, (const char *)"2", 1) == 0) // spi setting
  {
	 printf("iperf client\r\n");
	 loop_mode = 2;
	 mode = 2;
  }
  else if (strncmp((const char *)rx_buffer, (const char *)"3", 1) == 0) // spi setting
	{
	 printf("iperf server\r\n");
	 loop_mode = 3;
	 mode = 3;
	}
  rx_index = 0;
  HAL_UART_Transmit(&huart3, (uint8_t *)">", 1, 0xFFFF);
  return mode;
}
void Start_W6100_Task(void *argument)
{
	int i = 0;
	uint8_t syslock = SYS_NET_LOCK;

	int8_t *data= NULL;
	int32_t ret;
	W6100Initialze();
	ctlwizchip(CW_SYS_UNLOCK,& syslock);
	ctlnetwork(CN_SET_NETINFO,&gWIZNETINFO);
	for (i = 0; i < 8; i++)
	  {
		printf("%d : max size = %d k \r\n", i, getSn_TxMAX(i));
	  }
	printf("VERSION(%x) = %.2x \r\n", _VER_,getVER());
	print_network_information();
	printf("\r\n>");
	data = (uint8_t *)calloc(Send_data_size + 1, sizeof(uint8_t));
    for(i=0; i<Send_data_size; i++)
    {
	    data[i] = (i%10) + '0';
    }
    printf("1: loopback \r\n2: iperf client\r\n3:iperf server\r\nstop : stop process\r\n");
	for(;;)
	{

	  switch(loop_mode)
	  {
	  case 1:	//loopback
		  loopback_tcps(0,data_buf,5001, AS_IPV4);
		  break;
	  case 2:
		  ret = iperf_tcpc(0, data, WIZ_Dest_IP, WIZ_Dest_PORT, Send_data_size, 100, AS_IPV4);
		  if(ret > 1)
		  {
			  loop_mode = 0;
			  printf("finish iperf send data[%ld] \r\n", ret);
		  }
		  break;
	  case 3:
		  tcps_status(0, 5001, AS_IPV4);
		  break;
	  default :
		  break;
	  }
		//osDelay(1);
	}
}
/* USER CODE END 4 */

void StartDefaultTask(void *argument)
{
  /* USER CODE BEGIN 5 */
	uint16_t cmd_mode=0;
  /* Infinite loop */
  for(;;)
  {
	  if (rx_flag == 1)
	  {
		  rx_flag = 0;
		  cmd_mode=CLI_Process();
		  switch(cmd_mode)
		  {
		  case 3:
			  break;
		  default :
			  break;
		  }
	  }
    osDelay(1);
  }
  /* USER CODE END 5 */
}

void HAL_TIM_PeriodElapsedCallback(TIM_HandleTypeDef *htim)
{
  if (htim->Instance == TIM6) {
    HAL_IncTick();
  }
}

void Error_Handler(void)
{
  __disable_irq();
  while (1)
  {
  }
}
